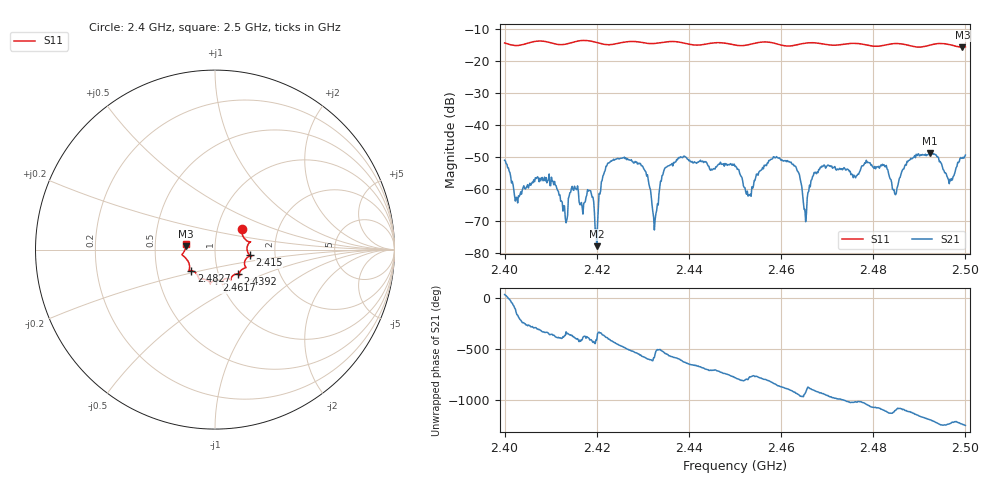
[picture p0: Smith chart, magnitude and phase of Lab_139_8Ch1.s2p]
# Hz S RI R 50
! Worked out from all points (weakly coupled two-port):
!   601 points, 2.4 GHz to 2.5 GHz, reference 50 ohm
!   highest |S21| = -48.89 dB at 2.4923 GHz (marker M1); lowest = -77.8 dB at 2.42 GHz (marker M2)
!   lowest |S11| = -15.7 dB at 2.4993 GHz (marker M3), VSWR 1.39, Z = 36 + j1.42 ohm
!   |S11| at or under -10 dB: start of sweep to end of sweep
!   S12 and S22 are empty: the file has one direction only
!   S11 on the Smith chart (normalised r, x): 2.4 GHz: 1.31, +0.31; 2.415 GHz: 1.48, -0.10; 2.4392 GHz: 1.24, -0.35; 2.4617 GHz: 0.96, -0.34; 2.4827 GHz: 0.75, -0.18; 2.5 GHz: 0.72, +0.05
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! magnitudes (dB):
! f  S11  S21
! 2.4 GHz  -14.5  -51.0
! 2.4027 GHz  -15.3  -62.7
! 2.4092 GHz  -14.1  -58.1
! 2.4132 GHz  -14.8  -69.1
! 2.415 GHz  -14.2  -60.4
! 2.4167 GHz  -13.7  -64.2
! 2.42 GHz  -14.3  -77.8
! 2.4215 GHz  -14.9  -55.4
! 2.4242 GHz  -14.7  -50.7
! 2.4333 GHz  -14.5  -65.0
! 2.4392 GHz  -14.6  -49.9
! 2.45 GHz  -15.1  -52.9
! 2.453 GHz  -15.0  -61.9
! 2.4617 GHz  -15.4  -51.4
! 2.4652 GHz  -14.5  -66.3
! 2.4667 GHz  -14.4  -57.1
! 2.4827 GHz  -15.1  -53.0
! 2.4833 GHz  -14.9  -55.2
! 2.4923 GHz  -15.1  -48.9
! 2.4967 GHz  -15.0  -56.9
! 2.4993 GHz  -15.7  -50.4
! 2.5 GHz  -15.7  -49.4
